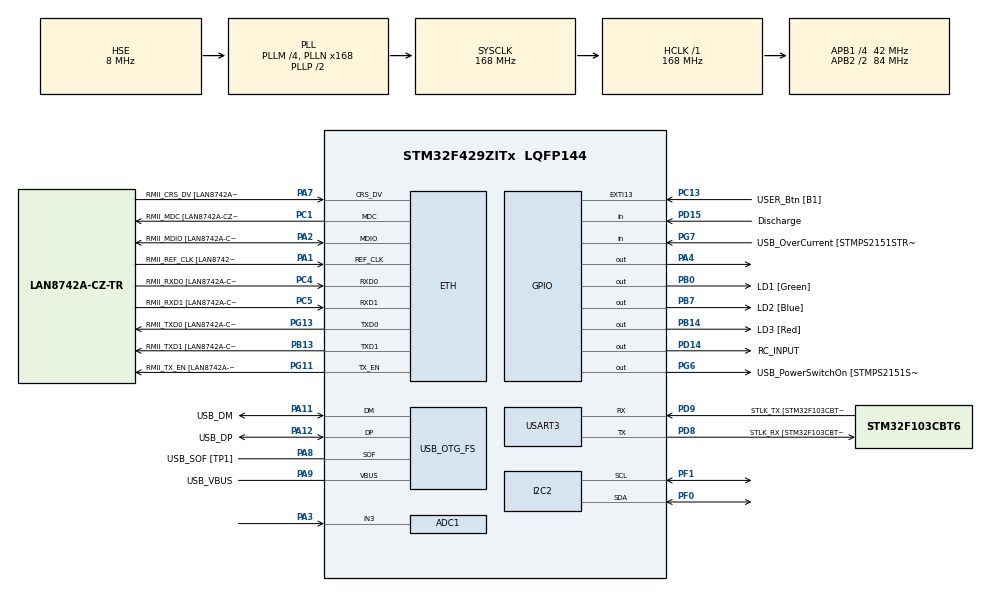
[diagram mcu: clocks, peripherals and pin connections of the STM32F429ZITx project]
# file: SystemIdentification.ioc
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ADC1.Channel-0\#ChannelRegularConversion=ADC_CHANNEL_3
ADC1.ClockPrescaler=ADC_CLOCK_SYNC_PCLK_DIV4
ADC1.ContinuousConvMode=DISABLE
ADC1.DMAContinuousRequests=ENABLE
ADC1.EnableAnalogWatchDog=true
ADC1.ExternalTrigConv=ADC_EXTERNALTRIGCONV_T2_TRGO
ADC1.HighThreshold=3890
ADC1.ITMode=ENABLE
ADC1.NbrOfConversionFlag=1
ADC1.Rank-0\#ChannelRegularConversion=1
ADC1.SamplingTime-0\#ChannelRegularConversion=ADC_SAMPLETIME_3CYCLES
ADC1.WatchdogChannel=ADC_CHANNEL_3
ADC1.master=1
Dma.ADC1.0.Direction=DMA_PERIPH_TO_MEMORY
Dma.ADC1.0.FIFOMode=DMA_FIFOMODE_DISABLE
Dma.ADC1.0.Instance=DMA2_Stream0
Dma.ADC1.0.MemDataAlignment=DMA_MDATAALIGN_HALFWORD
Dma.ADC1.0.MemInc=DMA_MINC_ENABLE
Dma.ADC1.0.Mode=DMA_CIRCULAR
Dma.ADC1.0.PeriphDataAlignment=DMA_PDATAALIGN_HALFWORD
Dma.ADC1.0.PeriphInc=DMA_PINC_DISABLE
Dma.ADC1.0.Priority=DMA_PRIORITY_LOW
Dma.Request0=ADC1
ETH.MediaInterface=HAL_ETH_RMII_MODE
ETH.PHY_Name=LAN8742A_PHY_ADDRESS
ETH.PHY_Value=0
ETH.PhyAddress=0
Mcu.Family=STM32F4
Mcu.Name=STM32F429ZITx
Mcu.Package=LQFP144
NVIC.ADC_IRQn=true\:0\:0\:false\:false\:true\:true\:true\:true
NVIC.DMA2_Stream0_IRQn=true\:0\:0\:false\:false\:true\:false\:true\:true
NVIC.EXTI15_10_IRQn=true\:0\:0\:false\:false\:true\:true\:true\:true
NVIC.PriorityGroup=NVIC_PRIORITYGROUP_4
PA1.GPIO_Label=RMII_REF_CLK [LAN8742A-CZ-TR_REFCLK0]
PA1.Mode=RMII
PA1.Signal=ETH_REF_CLK
PA10.GPIO_Label=USB_ID
PA10.Signal=USB_OTG_FS_ID
PA11.GPIO_Label=USB_DM
PA11.Mode=Device_Only
PA11.Signal=USB_OTG_FS_DM
PA12.GPIO_Label=USB_DP
PA12.Mode=Device_Only
PA12.Signal=USB_OTG_FS_DP
PA13.GPIO_Label=TMS
PA13.Mode=Serial_Wire
PA13.Signal=SYS_JTMS-SWDIO
PA14.GPIO_Label=TCK
PA14.Mode=Serial_Wire
PA14.Signal=SYS_JTCK-SWCLK
PA2.GPIO_Label=RMII_MDIO [LAN8742A-CZ-TR_MDIO]
PA2.Mode=RMII
PA2.Signal=ETH_MDIO
PA3.Signal=ADCx_IN3
PA4.Signal=GPIO_Output
PA7.GPIO_Label=RMII_CRS_DV [LAN8742A-CZ-TR_CRS_DV]
PA7.Mode=RMII
PA7.Signal=ETH_CRS_DV
PA8.GPIO_Label=USB_SOF [TP1]
PA8.Mode=Activate_SOF_FS
PA8.Signal=USB_OTG_FS_SOF
PA9.GPIO_Label=USB_VBUS
PA9.Mode=Activate_VBUS
PA9.Signal=USB_OTG_FS_VBUS
PB0.GPIO_Label=LD1 [Green]
PB0.Signal=GPIO_Output
PB13.GPIO_Label=RMII_TXD1 [LAN8742A-CZ-TR_TXD1]
PB13.Mode=RMII
PB13.Signal=ETH_TXD1
PB14.GPIO_Label=LD3 [Red]
PB14.Signal=GPIO_Output
PB7.GPIO_Label=LD2 [Blue]
PB7.Signal=GPIO_Output
PC1.GPIO_Label=RMII_MDC [LAN8742A-CZ-TR_MDC]
PC1.Mode=RMII
PC1.Signal=ETH_MDC
PC13.GPIO_Label=USER_Btn [B1]
PC13.GPIO_ModeDefaultEXTI=GPIO_MODE_IT_FALLING
PC13.Signal=GPXTI13
PC14/OSC32_IN.Mode=LSE-External-Oscillator
PC14/OSC32_IN.Signal=RCC_OSC32_IN
PC15/OSC32_OUT.Mode=LSE-External-Oscillator
PC15/OSC32_OUT.Signal=RCC_OSC32_OUT
PC4.GPIO_Label=RMII_RXD0 [LAN8742A-CZ-TR_RXD0]
PC4.Mode=RMII
PC4.Signal=ETH_RXD0
PC5.GPIO_Label=RMII_RXD1 [LAN8742A-CZ-TR_RXD1]
PC5.Mode=RMII
PC5.Signal=ETH_RXD1
PD14.GPIO_Label=RC_INPUT
PD14.Signal=GPIO_Output
PD15.GPIO_Label=Discharge
PD15.Signal=GPIO_Input
PD8.GPIO_Label=STLK_RX [STM32F103CBT6_PA3]
PD8.Mode=Asynchronous
PD8.Signal=USART3_TX
PD9.GPIO_Label=STLK_TX [STM32F103CBT6_PA2]
PD9.Mode=Asynchronous
PD9.Signal=USART3_RX
PF0.Mode=I2C
PF0.Signal=I2C2_SDA
PF1.Mode=I2C
PF1.Signal=I2C2_SCL
PG11.GPIO_Label=RMII_TX_EN [LAN8742A-CZ-TR_TXEN]
PG11.Mode=RMII
PG11.Signal=ETH_TX_EN
PG13.GPIO_Label=RMII_TXD0 [LAN8742A-CZ-TR_TXD0]
PG13.Mode=RMII
PG13.Signal=ETH_TXD0
PG6.GPIO_Label=USB_PowerSwitchOn [STMPS2151STR_EN]
PG6.Signal=GPIO_Output
PG7.GPIO_Label=USB_OverCurrent [STMPS2151STR_FAULT]
PG7.Signal=GPIO_Input
PH0/OSC_IN.GPIO_Label=MCO [STM32F103CBT6_PA8]
PH0/OSC_IN.Mode=HSE-External-Clock-Source
PH0/OSC_IN.Signal=RCC_OSC_IN
PH1/OSC_OUT.Mode=HSE-External-Clock-Source
PH1/OSC_OUT.Signal=RCC_OSC_OUT
ProjectManager.HeapSize=0x200
ProjectManager.StackSize=0x400
ProjectManager.TargetToolchain=STM32CubeIDE
RCC.48MHZClocksFreq_Value=48000000
RCC.AHBFreq_Value=168000000
RCC.APB1CLKDivider=RCC_HCLK_DIV4
RCC.APB1Freq_Value=42000000
RCC.APB1TimFreq_Value=84000000
RCC.APB2CLKDivider=RCC_HCLK_DIV2
RCC.APB2Freq_Value=84000000
RCC.APB2TimFreq_Value=168000000
RCC.CortexFreq_Value=168000000
RCC.HCLKFreq_Value=168000000
RCC.HSE_VALUE=8000000
RCC.HSI_VALUE=16000000
RCC.PLLM=4
RCC.PLLMUL=RCC_PLL_MUL9
RCC.PLLN=168
RCC.PLLQ=7
RCC.PRESCALERUSB=RCC_USBCLKSOURCE_PLL_DIV1_5
RCC.SYSCLKFreq_VALUE=168000000
RCC.SYSCLKSource=RCC_SYSCLKSOURCE_PLLCLK
RCC.SYSCLKSourceVirtual=RCC_SYSCLKSOURCE_PLLCLK
RCC.USBFreq_Value=48000000
RCC.VCOOutputFreq_Value=336000000
SH.ADCx_IN3.0=ADC1_IN3,IN3
TIM2.Period=99
TIM2.Prescaler=83
TIM2.TIM_MasterOutputTrigger=TIM_TRGO_UPDATE
USART3.VirtualMode=VM_ASYNC
USB_OTG_FS.VirtualMode=Device_Only
VP_TIM2_VS_ClockSourceINT.Mode=Internal
board=NUCLEO-F429ZI

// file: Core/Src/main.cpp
/* USER CODE BEGIN Header */
/**
  ******************************************************************************
  * @file           : main.c
  * @brief          : Main program body
  ******************************************************************************
  * @attention
  *
  * Copyright (c) 2025 STMicroelectronics.
  * All rights reserved.
  *
  * This software is licensed under terms that can be found in the LICENSE file
  * in the root directory of this software component.
  * If no LICENSE file comes with this software, it is provided AS-IS.
  *
  ******************************************************************************
  */
/* USER CODE END Header */
#include "main.h"
#include "string.h"

/* USER CODE BEGIN Includes */

#include <iostream>
#include <queue>

#include "lcd.h"
#include "Event.h"
#include "SystemState.h"
#include "SystemStateHandler.h"

/* USER CODE END Includes */

ETH_TxPacketConfig TxConfig;
ETH_DMADescTypeDef  DMARxDscrTab[ETH_RX_DESC_CNT]; /* Ethernet Rx DMA Descriptors */
ETH_DMADescTypeDef  DMATxDscrTab[ETH_TX_DESC_CNT]; /* Ethernet Tx DMA Descriptors */

ADC_HandleTypeDef hadc1;
DMA_HandleTypeDef hdma_adc1;

ETH_HandleTypeDef heth;

I2C_HandleTypeDef hi2c2;

TIM_HandleTypeDef htim2;

UART_HandleTypeDef huart3;

PCD_HandleTypeDef hpcd_USB_OTG_FS;

/* USER CODE BEGIN PV */

LCD_HandleTypeDef lcd;
SystemStateHandler *sysHandler;
std::queue<Event*> event_queue;
SystemState CurrentState = STATE_STARTING;
uint32_t startTime = 0;
uint32_t stateTimestamp = 0;

/* USER CODE END PV */

void SystemClock_Config(void);
static void MX_GPIO_Init(void);
static void MX_DMA_Init(void);
static void MX_ETH_Init(void);
static void MX_USART3_UART_Init(void);
static void MX_USB_OTG_FS_PCD_Init(void);
static void MX_ADC1_Init(void);
static void MX_I2C2_Init(void);
static void MX_TIM2_Init(void);

int main(void)
{

  /* MCU Configuration--------------------------------------------------------*/

  /* Reset of all peripherals, Initializes the Flash interface and the Systick. */
  HAL_Init();

  /* Configure the system clock */
  SystemClock_Config();

  /* Initialize all configured peripherals */
  MX_GPIO_Init();
  MX_DMA_Init();
  MX_ETH_Init();
  MX_USART3_UART_Init();
  MX_USB_OTG_FS_PCD_Init();
  MX_ADC1_Init();
  MX_I2C2_Init();
  MX_TIM2_Init();
  /* USER CODE BEGIN 2 */

  sysHandler = new SystemStateHandler();
  lcd.i2c = &hi2c2;
  lcd.i2c_addr = LCD_DEFAULT_ADDR;
  LCD_Begin(&lcd);
  LCD_Clear(&lcd);
  LCD_SetBacklight(&lcd, true);
  event_queue.push(new SystemStartEvent());

  /* USER CODE END 2 */

  /* Infinite loop */
  /* USER CODE BEGIN WHILE */
  while (1)
  {
	  sysHandler->vBlinking();

	  Event* currentEvent = nullptr;

	  // disable and enable irq to prevent interrupts during queue manipulation
	  __disable_irq();
	  bool isEmpty = event_queue.empty();
	  __enable_irq();

	  //Queue geordnet abarbeiten
	  __disable_irq();
	  if (!isEmpty) {
		  currentEvent = event_queue.front();
		  event_queue.pop();
	  }
	  __enable_irq();

	  if (currentEvent != nullptr) {
		  currentEvent->vHandleEvent();
		  delete currentEvent;
	  }

	  HAL_Delay(1);
    /* USER CODE END WHILE */

  }
}

void SystemClock_Config(void)
{
  RCC_OscInitTypeDef RCC_OscInitStruct = {0};
  RCC_ClkInitTypeDef RCC_ClkInitStruct = {0};

  /** Configure the main internal regulator output voltage
  */
  __HAL_RCC_PWR_CLK_ENABLE();
  __HAL_PWR_VOLTAGESCALING_CONFIG(PWR_REGULATOR_VOLTAGE_SCALE1);

  /** Initializes the RCC Oscillators according to the specified parameters
  * in the RCC_OscInitTypeDef structure.
  */
  RCC_OscInitStruct.OscillatorType = RCC_OSCILLATORTYPE_HSE;
  RCC_OscInitStruct.HSEState = RCC_HSE_BYPASS;
  RCC_OscInitStruct.PLL.PLLState = RCC_PLL_ON;
  RCC_OscInitStruct.PLL.PLLSource = RCC_PLLSOURCE_HSE;
  RCC_OscInitStruct.PLL.PLLM = 4;
  RCC_OscInitStruct.PLL.PLLN = 168;
  RCC_OscInitStruct.PLL.PLLP = RCC_PLLP_DIV2;
  RCC_OscInitStruct.PLL.PLLQ = 7;
  if (HAL_RCC_OscConfig(&RCC_OscInitStruct) != HAL_OK)
  {
    Error_Handler();
  }

  /** Initializes the CPU, AHB and APB buses clocks
  */
  RCC_ClkInitStruct.ClockType = RCC_CLOCKTYPE_HCLK|RCC_CLOCKTYPE_SYSCLK
                              |RCC_CLOCKTYPE_PCLK1|RCC_CLOCKTYPE_PCLK2;
  RCC_ClkInitStruct.SYSCLKSource = RCC_SYSCLKSOURCE_PLLCLK;
  RCC_ClkInitStruct.AHBCLKDivider = RCC_SYSCLK_DIV1;
  RCC_ClkInitStruct.APB1CLKDivider = RCC_HCLK_DIV4;
  RCC_ClkInitStruct.APB2CLKDivider = RCC_HCLK_DIV2;

  if (HAL_RCC_ClockConfig(&RCC_ClkInitStruct, FLASH_LATENCY_5) != HAL_OK)
  {
    Error_Handler();
  }
}

static void MX_ADC1_Init(void)
{

  ADC_AnalogWDGConfTypeDef AnalogWDGConfig = {0};
  ADC_ChannelConfTypeDef sConfig = {0};

  /** Configure the global features of the ADC (Clock, Resolution, Data Alignment and number of conversion)
  */
  hadc1.Instance = ADC1;
  hadc1.Init.ClockPrescaler = ADC_CLOCK_SYNC_PCLK_DIV4;
  hadc1.Init.Resolution = ADC_RESOLUTION_12B;
  hadc1.Init.ScanConvMode = DISABLE;
  hadc1.Init.ContinuousConvMode = DISABLE;
  hadc1.Init.DiscontinuousConvMode = DISABLE;
  hadc1.Init.ExternalTrigConvEdge = ADC_EXTERNALTRIGCONVEDGE_RISING;
  hadc1.Init.ExternalTrigConv = ADC_EXTERNALTRIGCONV_T2_TRGO;
  hadc1.Init.DataAlign = ADC_DATAALIGN_RIGHT;
  hadc1.Init.NbrOfConversion = 1;
  hadc1.Init.DMAContinuousRequests = ENABLE;
  hadc1.Init.EOCSelection = ADC_EOC_SINGLE_CONV;
  if (HAL_ADC_Init(&hadc1) != HAL_OK)
  {
    Error_Handler();
  }

  /** Configure the analog watchdog
  */
  AnalogWDGConfig.WatchdogMode = ADC_ANALOGWATCHDOG_SINGLE_REG;
  AnalogWDGConfig.HighThreshold = 3890;
  AnalogWDGConfig.LowThreshold = 0;
  AnalogWDGConfig.Channel = ADC_CHANNEL_3;
  AnalogWDGConfig.ITMode = ENABLE;
  if (HAL_ADC_AnalogWDGConfig(&hadc1, &AnalogWDGConfig) != HAL_OK)
  {
    Error_Handler();
  }

  /** Configure for the selected ADC regular channel its corresponding rank in the sequencer and its sample time.
  */
  sConfig.Channel = ADC_CHANNEL_3;
  sConfig.Rank = 1;
  sConfig.SamplingTime = ADC_SAMPLETIME_3CYCLES;
  if (HAL_ADC_ConfigChannel(&hadc1, &sConfig) != HAL_OK)
  {
    Error_Handler();
  }

}

static void MX_ETH_Init(void)
{

   static uint8_t MACAddr[6];

  heth.Instance = ETH;
  MACAddr[0] = 0x00;
  MACAddr[1] = 0x80;
  MACAddr[2] = 0xE1;
  MACAddr[3] = 0x00;
  MACAddr[4] = 0x00;
  MACAddr[5] = 0x00;
  heth.Init.MACAddr = &MACAddr[0];
  heth.Init.MediaInterface = HAL_ETH_RMII_MODE;
  heth.Init.TxDesc = DMATxDscrTab;
  heth.Init.RxDesc = DMARxDscrTab;
  heth.Init.RxBuffLen = 1524;

  if (HAL_ETH_Init(&heth) != HAL_OK)
  {
    Error_Handler();
  }

  memset(&TxConfig, 0 , sizeof(ETH_TxPacketConfig));
  TxConfig.Attributes = ETH_TX_PACKETS_FEATURES_CSUM | ETH_TX_PACKETS_FEATURES_CRCPAD;
  TxConfig.ChecksumCtrl = ETH_CHECKSUM_IPHDR_PAYLOAD_INSERT_PHDR_CALC;
  TxConfig.CRCPadCtrl = ETH_CRC_PAD_INSERT;

}

static void MX_I2C2_Init(void)
{

  hi2c2.Instance = I2C2;
  hi2c2.Init.ClockSpeed = 100000;
  hi2c2.Init.DutyCycle = I2C_DUTYCYCLE_2;
  hi2c2.Init.OwnAddress1 = 0;
  hi2c2.Init.AddressingMode = I2C_ADDRESSINGMODE_7BIT;
  hi2c2.Init.DualAddressMode = I2C_DUALADDRESS_DISABLE;
  hi2c2.Init.OwnAddress2 = 0;
  hi2c2.Init.GeneralCallMode = I2C_GENERALCALL_DISABLE;
  hi2c2.Init.NoStretchMode = I2C_NOSTRETCH_DISABLE;
  if (HAL_I2C_Init(&hi2c2) != HAL_OK)
  {
    Error_Handler();
  }

  /** Configure Analogue filter
  */
  if (HAL_I2CEx_ConfigAnalogFilter(&hi2c2, I2C_ANALOGFILTER_ENABLE) != HAL_OK)
  {
    Error_Handler();
  }

  /** Configure Digital filter
  */
  if (HAL_I2CEx_ConfigDigitalFilter(&hi2c2, 0) != HAL_OK)
  {
    Error_Handler();
  }

}

static void MX_TIM2_Init(void)
{

  TIM_ClockConfigTypeDef sClockSourceConfig = {0};
  TIM_MasterConfigTypeDef sMasterConfig = {0};

  htim2.Instance = TIM2;
  htim2.Init.Prescaler = 83;
  htim2.Init.CounterMode = TIM_COUNTERMODE_UP;
  htim2.Init.Period = 99;
  htim2.Init.ClockDivision = TIM_CLOCKDIVISION_DIV1;
  htim2.Init.AutoReloadPreload = TIM_AUTORELOAD_PRELOAD_DISABLE;
  if (HAL_TIM_Base_Init(&htim2) != HAL_OK)
  {
    Error_Handler();
  }
  sClockSourceConfig.ClockSource = TIM_CLOCKSOURCE_INTERNAL;
  if (HAL_TIM_ConfigClockSource(&htim2, &sClockSourceConfig) != HAL_OK)
  {
    Error_Handler();
  }
  sMasterConfig.MasterOutputTrigger = TIM_TRGO_UPDATE;
  sMasterConfig.MasterSlaveMode = TIM_MASTERSLAVEMODE_DISABLE;
  if (HAL_TIMEx_MasterConfigSynchronization(&htim2, &sMasterConfig) != HAL_OK)
  {
    Error_Handler();
  }

}

static void MX_USART3_UART_Init(void)
{

  huart3.Instance = USART3;
  huart3.Init.BaudRate = 115200;
  huart3.Init.WordLength = UART_WORDLENGTH_8B;
  huart3.Init.StopBits = UART_STOPBITS_1;
  huart3.Init.Parity = UART_PARITY_NONE;
  huart3.Init.Mode = UART_MODE_TX_RX;
  huart3.Init.HwFlowCtl = UART_HWCONTROL_NONE;
  huart3.Init.OverSampling = UART_OVERSAMPLING_16;
  if (HAL_UART_Init(&huart3) != HAL_OK)
  {
    Error_Handler();
  }

}

static void MX_USB_OTG_FS_PCD_Init(void)
{

  hpcd_USB_OTG_FS.Instance = USB_OTG_FS;
  hpcd_USB_OTG_FS.Init.dev_endpoints = 4;
  hpcd_USB_OTG_FS.Init.speed = PCD_SPEED_FULL;
  hpcd_USB_OTG_FS.Init.dma_enable = DISABLE;
  hpcd_USB_OTG_FS.Init.phy_itface = PCD_PHY_EMBEDDED;
  hpcd_USB_OTG_FS.Init.Sof_enable = ENABLE;
  hpcd_USB_OTG_FS.Init.low_power_enable = DISABLE;
  hpcd_USB_OTG_FS.Init.lpm_enable = DISABLE;
  hpcd_USB_OTG_FS.Init.vbus_sensing_enable = ENABLE;
  hpcd_USB_OTG_FS.Init.use_dedicated_ep1 = DISABLE;
  if (HAL_PCD_Init(&hpcd_USB_OTG_FS) != HAL_OK)
  {
    Error_Handler();
  }

}

static void MX_DMA_Init(void)
{

  /* DMA controller clock enable */
  __HAL_RCC_DMA2_CLK_ENABLE();

  /* DMA interrupt init */
  /* DMA2_Stream0_IRQn interrupt configuration */
  HAL_NVIC_SetPriority(DMA2_Stream0_IRQn, 0, 0);
  HAL_NVIC_EnableIRQ(DMA2_Stream0_IRQn);

}

static void MX_GPIO_Init(void)
{
  GPIO_InitTypeDef GPIO_InitStruct = {0};

  /* GPIO Ports Clock Enable */
  __HAL_RCC_GPIOC_CLK_ENABLE();
  __HAL_RCC_GPIOF_CLK_ENABLE();
  __HAL_RCC_GPIOH_CLK_ENABLE();
  __HAL_RCC_GPIOA_CLK_ENABLE();
  __HAL_RCC_GPIOB_CLK_ENABLE();
  __HAL_RCC_GPIOD_CLK_ENABLE();
  __HAL_RCC_GPIOG_CLK_ENABLE();

  /*Configure GPIO pin Output Level */
  HAL_GPIO_WritePin(GPIOA, GPIO_PIN_4, GPIO_PIN_RESET);

  /*Configure GPIO pin Output Level */
  HAL_GPIO_WritePin(GPIOB, LD1_Pin|LD3_Pin|LD2_Pin, GPIO_PIN_RESET);

  /*Configure GPIO pin Output Level */
  HAL_GPIO_WritePin(RC_INPUT_GPIO_Port, RC_INPUT_Pin, GPIO_PIN_RESET);

  /*Configure GPIO pin Output Level */
  HAL_GPIO_WritePin(USB_PowerSwitchOn_GPIO_Port, USB_PowerSwitchOn_Pin, GPIO_PIN_RESET);

  /*Configure GPIO pin : USER_Btn_Pin */
  GPIO_InitStruct.Pin = USER_Btn_Pin;
  GPIO_InitStruct.Mode = GPIO_MODE_IT_FALLING;
  GPIO_InitStruct.Pull = GPIO_NOPULL;
  HAL_GPIO_Init(USER_Btn_GPIO_Port, &GPIO_InitStruct);

  /*Configure GPIO pin : PA4 */
  GPIO_InitStruct.Pin = GPIO_PIN_4;
  GPIO_InitStruct.Mode = GPIO_MODE_OUTPUT_PP;
  GPIO_InitStruct.Pull = GPIO_NOPULL;
  GPIO_InitStruct.Speed = GPIO_SPEED_FREQ_LOW;
  HAL_GPIO_Init(GPIOA, &GPIO_InitStruct);

  /*Configure GPIO pins : LD1_Pin LD3_Pin LD2_Pin */
  GPIO_InitStruct.Pin = LD1_Pin|LD3_Pin|LD2_Pin;
  GPIO_InitStruct.Mode = GPIO_MODE_OUTPUT_PP;
  GPIO_InitStruct.Pull = GPIO_NOPULL;
  GPIO_InitStruct.Speed = GPIO_SPEED_FREQ_LOW;
  HAL_GPIO_Init(GPIOB, &GPIO_InitStruct);

  /*Configure GPIO pin : RC_INPUT_Pin */
  GPIO_InitStruct.Pin = RC_INPUT_Pin;
  GPIO_InitStruct.Mode = GPIO_MODE_OUTPUT_PP;
  GPIO_InitStruct.Pull = GPIO_NOPULL;
  GPIO_InitStruct.Speed = GPIO_SPEED_FREQ_LOW;
  HAL_GPIO_Init(RC_INPUT_GPIO_Port, &GPIO_InitStruct);

  /*Configure GPIO pin : Discharge_Pin */
  GPIO_InitStruct.Pin = Discharge_Pin;
  GPIO_InitStruct.Mode = GPIO_MODE_INPUT;
  GPIO_InitStruct.Pull = GPIO_NOPULL;
  HAL_GPIO_Init(Discharge_GPIO_Port, &GPIO_InitStruct);

  /*Configure GPIO pin : USB_PowerSwitchOn_Pin */
  GPIO_InitStruct.Pin = USB_PowerSwitchOn_Pin;
  GPIO_InitStruct.Mode = GPIO_MODE_OUTPUT_PP;
  GPIO_InitStruct.Pull = GPIO_NOPULL;
  GPIO_InitStruct.Speed = GPIO_SPEED_FREQ_LOW;
  HAL_GPIO_Init(USB_PowerSwitchOn_GPIO_Port, &GPIO_InitStruct);

  /*Configure GPIO pin : USB_OverCurrent_Pin */
  GPIO_InitStruct.Pin = USB_OverCurrent_Pin;
  GPIO_InitStruct.Mode = GPIO_MODE_INPUT;
  GPIO_InitStruct.Pull = GPIO_NOPULL;
  HAL_GPIO_Init(USB_OverCurrent_GPIO_Port, &GPIO_InitStruct);

  /* EXTI interrupt init*/
  HAL_NVIC_SetPriority(EXTI15_10_IRQn, 0, 0);
  HAL_NVIC_EnableIRQ(EXTI15_10_IRQn);

}

/* USER CODE BEGIN 4 */

void HAL_GPIO_EXTI_Callback(uint16_t GPIO_Pin) {
	__disable_irq();
    if (GPIO_Pin == GPIO_PIN_13) {
        static uint32_t last_press = 0;
        if (HAL_GetTick() - last_press > 150) {
            event_queue.push(new BlueButtonEvent());
            last_press = HAL_GetTick();
        }
    }
    __enable_irq();
}

/* USER CODE END 4 */

void Error_Handler(void)
{
  __disable_irq();
  while (1)
  {
  }
}
